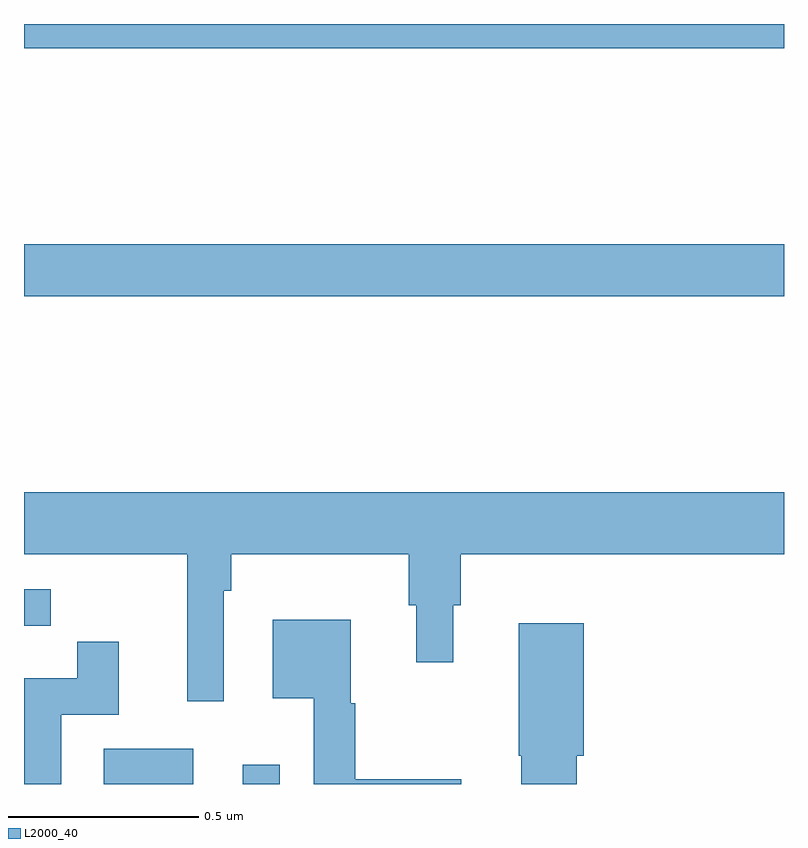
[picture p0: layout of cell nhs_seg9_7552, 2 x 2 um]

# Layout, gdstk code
import gdstk
lib = gdstk.Library(unit=1e-6, precision=1e-09)
def R(c, l, rs):  # rectangles x0, y0, x1, y1
    for r in rs: c.add(gdstk.rectangle(r[:2], r[2:], *l))
def P(c, l, *ps):  # polygons
    for p in ps: c.add(gdstk.Polygon(p, *l))
L2000_40 = (2000, 40)

nhs_seg9_7552 = lib.new_cell('nhs_seg9_7552')
R(nhs_seg9_7552, L2000_40, [(206.21,1178.5,206.446,1178.593), (206.576,1178.5,206.673,1178.551), (206,1178.916,206.071,1179.012), (206,1179.784,208,1179.92), (206,1180.436,208,1180.5)])
P(nhs_seg9_7552, L2000_40, [(206.526,1179.008),(206.546,1179.008),(206.546,1179.104),(207.013,1179.104),(207.013,1178.97),(207.032,1178.97),(207.032,1178.82),(207.13,1178.82),(207.13,1178.97),(207.149,1178.97),(207.149,1179.104),(208,1179.104),(208,1179.268),(206,1179.268),(206,1179.104),(206.429,1179.104),(206.429,1178.718),(206.526,1178.718)],
  [(207.151,1178.513),(206.872,1178.513),(206.872,1178.712),(206.86,1178.712),(206.86,1178.932),(206.654,1178.932),(206.654,1178.726),(206.763,1178.726),(206.763,1178.5),(207.151,1178.5)],
  [(207.455,1178.574),(207.473,1178.574),(207.473,1178.923),(207.302,1178.923),(207.302,1178.574),(207.308,1178.574),(207.308,1178.5),(207.455,1178.5)],
  [(206.098,1178.682),(206.249,1178.682),(206.249,1178.875),(206.14,1178.875),(206.14,1178.778),(206,1178.778),(206,1178.5),(206.098,1178.5)])

lib.write_gds('nhs_seg9_7552.gds')
